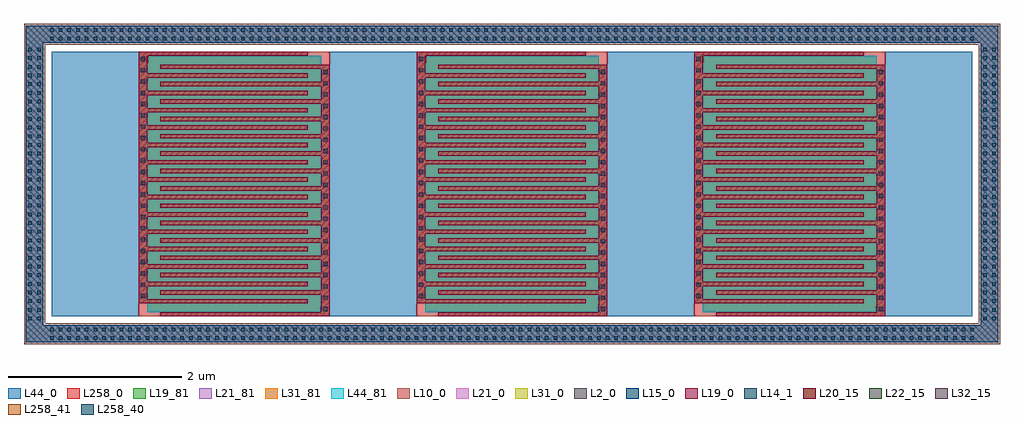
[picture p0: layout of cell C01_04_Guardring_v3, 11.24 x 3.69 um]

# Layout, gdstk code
from math import pi, radians
import gdstk
lib = gdstk.Library(unit=1e-6, precision=1e-09)
def R(c, l, rs):  # rectangles x0, y0, x1, y1
    for r in rs: c.add(gdstk.rectangle(r[:2], r[2:], *l))
def A(c, l, x, y, w, h, nx, ny, dx, dy):  # array of equal rectangles
    R(c, l, [(x+i*dx, y+j*dy, x+i*dx+w, y+j*dy+h) for i in range(nx) for j in range(ny)])
L2_0 = (2, 0)
L10_0 = (10, 0)
L14_1 = (14, 1)
L15_0 = (15, 0)
L19_0 = (19, 0)
L19_81 = (19, 81)
L20_15 = (20, 15)
L21_0 = (21, 0)
L21_81 = (21, 81)
L22_15 = (22, 15)
L31_0 = (31, 0)
L31_81 = (31, 81)
L32_15 = (32, 15)
L44_0 = (44, 0)
L44_81 = (44, 81)
L258_0 = (258, 0)
L258_40 = (258, 40)
L258_41 = (258, 41)

c01_04_guardring_v3_srf_ = lib.new_cell('C01_04_Guardring_v3:SRF_Array:SRF_HDVNCAP:SRF_FingerArray:SRF_FingerPair')
R(c01_04_guardring_v3_srf_, L19_0, [(0.1,-0.15,0.15,1.7), (0,0,0.05,1.85)])
R(c01_04_guardring_v3_srf_, L21_0, [(0.1,-0.15,0.15,1.7), (0,0,0.05,1.85)])
R(c01_04_guardring_v3_srf_, L31_0, [(0.1,-0.15,0.15,1.7), (0,0,0.05,1.85)])
R(c01_04_guardring_v3_srf_, L44_0, [(0.1,-0.15,0.15,1.7), (0,0,0.05,1.85)])

c_c01_04_guardring_v3_srf_ = lib.new_cell('C01_04_Guardring_v3:SRF_Array:SRF_HDVNCAP:SRF_FingerArray')
c_c01_04_guardring_v3_srf_.add(gdstk.Reference(c01_04_guardring_v3_srf_, (0,0)))
c_c01_04_guardring_v3_srf_.add(gdstk.Reference(c01_04_guardring_v3_srf_, (0.2,0)))
c_c01_04_guardring_v3_srf_.add(gdstk.Reference(c01_04_guardring_v3_srf_, (0.4,0)))
c_c01_04_guardring_v3_srf_.add(gdstk.Reference(c01_04_guardring_v3_srf_, (0.6,0)))
c_c01_04_guardring_v3_srf_.add(gdstk.Reference(c01_04_guardring_v3_srf_, (0.8,0)))
c_c01_04_guardring_v3_srf_.add(gdstk.Reference(c01_04_guardring_v3_srf_, (1,0)))
c_c01_04_guardring_v3_srf_.add(gdstk.Reference(c01_04_guardring_v3_srf_, (1.2,0)))
c_c01_04_guardring_v3_srf_.add(gdstk.Reference(c01_04_guardring_v3_srf_, (1.4,0)))
c_c01_04_guardring_v3_srf_.add(gdstk.Reference(c01_04_guardring_v3_srf_, (1.6,0)))
c_c01_04_guardring_v3_srf_.add(gdstk.Reference(c01_04_guardring_v3_srf_, (1.8,0)))
c_c01_04_guardring_v3_srf_.add(gdstk.Reference(c01_04_guardring_v3_srf_, (2,0)))
c_c01_04_guardring_v3_srf_.add(gdstk.Reference(c01_04_guardring_v3_srf_, (2.2,0)))
c_c01_04_guardring_v3_srf_.add(gdstk.Reference(c01_04_guardring_v3_srf_, (2.4,0)))
c_c01_04_guardring_v3_srf_.add(gdstk.Reference(c01_04_guardring_v3_srf_, (2.6,0)))

c_c01_04_guardring_v3_srf__ = lib.new_cell('C01_04_Guardring_v3:SRF_Array:SRF_HDVNCAP:SRF_Via0_PortA_Hrz:SRF_ViaM3M4')
R(c_c01_04_guardring_v3_srf__, L19_0, [(-0.032,0,2.812,0.05)])
A(c_c01_04_guardring_v3_srf__, L20_15, 0, 0, 0.05, 0.05, 22, 1, 0.13, 0)
R(c_c01_04_guardring_v3_srf__, L21_0, [(-0.032,0,2.812,0.05)])

c_c01_04_guardring_v3_srf___ = lib.new_cell('C01_04_Guardring_v3:SRF_Array:SRF_HDVNCAP:SRF_Via0_PortA_Hrz')
c_c01_04_guardring_v3_srf___.add(gdstk.Reference(c_c01_04_guardring_v3_srf__, (-1.39,-0.025)))

c_c01_04_guardring_v3_srf____ = lib.new_cell('C01_04_Guardring_v3:SRF_Array:SRF_HDVNCAP:SRF_Via1_PortA_Hrz:SRF_ViaM4M5')
R(c_c01_04_guardring_v3_srf____, L21_0, [(-0.032,0,2.812,0.05)])
A(c_c01_04_guardring_v3_srf____, L22_15, 0, 0, 0.05, 0.05, 22, 1, 0.13, 0)
R(c_c01_04_guardring_v3_srf____, L31_0, [(-0.032,0,2.812,0.05)])

c_c01_04_guardring_v3_srf_____ = lib.new_cell('C01_04_Guardring_v3:SRF_Array:SRF_HDVNCAP:SRF_Via1_PortA_Hrz')
c_c01_04_guardring_v3_srf_____.add(gdstk.Reference(c_c01_04_guardring_v3_srf____, (-1.39,-0.025)))

c_c01_04_guardring_v3_srf______ = lib.new_cell('C01_04_Guardring_v3:SRF_Array:SRF_HDVNCAP:SRF_Via2_PortA_Hrz:SRF_ViaM5M6')
R(c_c01_04_guardring_v3_srf______, L31_0, [(-0.032,0,2.812,0.05)])
A(c_c01_04_guardring_v3_srf______, L32_15, 0, 0, 0.05, 0.05, 22, 1, 0.13, 0)
R(c_c01_04_guardring_v3_srf______, L44_0, [(-0.032,0,2.812,0.05)])

c_c01_04_guardring_v3_srf_______ = lib.new_cell('C01_04_Guardring_v3:SRF_Array:SRF_HDVNCAP:SRF_Via2_PortA_Hrz')
c_c01_04_guardring_v3_srf_______.add(gdstk.Reference(c_c01_04_guardring_v3_srf______, (-1.39,-0.025)))

c_c01_04_guardring_v3_srf________ = lib.new_cell('C01_04_Guardring_v3:SRF_Array:SRF_HDVNCAP:SRF_Via0_PortB_Hrz:SRF_ViaM3M4')
R(c_c01_04_guardring_v3_srf________, L19_0, [(-0.032,0,2.812,0.05)])
A(c_c01_04_guardring_v3_srf________, L20_15, 0, 0, 0.05, 0.05, 22, 1, 0.13, 0)
R(c_c01_04_guardring_v3_srf________, L21_0, [(-0.032,0,2.812,0.05)])

c_c01_04_guardring_v3_srf_________ = lib.new_cell('C01_04_Guardring_v3:SRF_Array:SRF_HDVNCAP:SRF_Via0_PortB_Hrz')
c_c01_04_guardring_v3_srf_________.add(gdstk.Reference(c_c01_04_guardring_v3_srf________, (-1.39,-0.025)))

c_c01_04_guardring_v3_srf__________ = lib.new_cell('C01_04_Guardring_v3:SRF_Array:SRF_HDVNCAP:SRF_Via1_PortB_Hrz:SRF_ViaM4M5')
R(c_c01_04_guardring_v3_srf__________, L21_0, [(-0.032,0,2.812,0.05)])
A(c_c01_04_guardring_v3_srf__________, L22_15, 0, 0, 0.05, 0.05, 22, 1, 0.13, 0)
R(c_c01_04_guardring_v3_srf__________, L31_0, [(-0.032,0,2.812,0.05)])

c_c01_04_guardring_v3_srf___________ = lib.new_cell('C01_04_Guardring_v3:SRF_Array:SRF_HDVNCAP:SRF_Via1_PortB_Hrz')
c_c01_04_guardring_v3_srf___________.add(gdstk.Reference(c_c01_04_guardring_v3_srf__________, (-1.39,-0.025)))

c_c01_04_guardring_v3_srf____________ = lib.new_cell('C01_04_Guardring_v3:SRF_Array:SRF_HDVNCAP:SRF_Via2_PortB_Hrz:SRF_ViaM5M6')
R(c_c01_04_guardring_v3_srf____________, L31_0, [(-0.032,0,2.812,0.05)])
A(c_c01_04_guardring_v3_srf____________, L32_15, 0, 0, 0.05, 0.05, 22, 1, 0.13, 0)
R(c_c01_04_guardring_v3_srf____________, L44_0, [(-0.032,0,2.812,0.05)])

c_c01_04_guardring_v3_srf_____________ = lib.new_cell('C01_04_Guardring_v3:SRF_Array:SRF_HDVNCAP:SRF_Via2_PortB_Hrz')
c_c01_04_guardring_v3_srf_____________.add(gdstk.Reference(c_c01_04_guardring_v3_srf____________, (-1.39,-0.025)))

c_c01_04_guardring_v3_srf______________ = lib.new_cell('C01_04_Guardring_v3:SRF_Array:SRF_HDVNCAP')
R(c_c01_04_guardring_v3_srf______________, L19_0, [(-0.15,-0.25,2.75,-0.15), (-0.15,-0.25,-0.1,1.7), (2.85,0,2.9,1.95), (0,1.85,2.9,1.95)])
R(c_c01_04_guardring_v3_srf______________, L19_81, [(-0.1,-0.15,2.85,1.85)])
R(c_c01_04_guardring_v3_srf______________, L21_0, [(-0.15,-0.25,2.75,-0.15), (-0.15,-0.25,-0.1,1.7), (2.85,0,2.9,1.95), (0,1.85,2.9,1.95)])
R(c_c01_04_guardring_v3_srf______________, L21_81, [(-0.1,-0.15,2.85,1.85)])
R(c_c01_04_guardring_v3_srf______________, L31_0, [(-0.15,-0.25,2.75,-0.15), (-0.15,-0.25,-0.1,1.7), (2.85,0,2.9,1.95), (0,1.85,2.9,1.95)])
R(c_c01_04_guardring_v3_srf______________, L31_81, [(-0.1,-0.15,2.85,1.85)])
R(c_c01_04_guardring_v3_srf______________, L44_0, [(-0.15,-0.25,2.75,-0.15), (-0.15,-0.25,-0.1,1.7), (2.85,0,2.9,1.95), (0,1.85,2.9,1.95)])
R(c_c01_04_guardring_v3_srf______________, L44_81, [(-0.1,-0.15,2.85,1.85)])
R(c_c01_04_guardring_v3_srf______________, L258_0, [(-0.15,-0.25,2.9,1.95)])
A(c_c01_04_guardring_v3_srf______________, L258_40, -0.09, -0.15, 0.01, 0.01, 3, 1, 0.02, 0)
A(c_c01_04_guardring_v3_srf______________, L258_41, 2.77, 1.84, 0.01, 0.01, 4, 1, 0.02, 0)
c_c01_04_guardring_v3_srf______________.add(gdstk.Reference(c_c01_04_guardring_v3_srf_, (0,0)))
c_c01_04_guardring_v3_srf______________.add(gdstk.Reference(c_c01_04_guardring_v3_srf___, (1.45,1.9)))
c_c01_04_guardring_v3_srf______________.add(gdstk.Reference(c_c01_04_guardring_v3_srf_____, (1.45,1.9)))
c_c01_04_guardring_v3_srf______________.add(gdstk.Reference(c_c01_04_guardring_v3_srf_______, (1.45,1.9)))
c_c01_04_guardring_v3_srf______________.add(gdstk.Reference(c_c01_04_guardring_v3_srf_________, (1.3,-0.2)))
c_c01_04_guardring_v3_srf______________.add(gdstk.Reference(c_c01_04_guardring_v3_srf___________, (1.3,-0.2)))
c_c01_04_guardring_v3_srf______________.add(gdstk.Reference(c_c01_04_guardring_v3_srf_____________, (1.3,-0.2)))

c_c01_04_guardring_v3_srf_______________ = lib.new_cell('C01_04_Guardring_v3:SRF_Array')
A(c_c01_04_guardring_v3_srf_______________, L44_0, 0, 0, 1, 3.05, 4, 1, 3.2, 0)
c_c01_04_guardring_v3_srf_______________.add(gdstk.Reference(c_c01_04_guardring_v3_srf______________, (2.95,0.15), rotation=pi/2))
c_c01_04_guardring_v3_srf_______________.add(gdstk.Reference(c_c01_04_guardring_v3_srf______________, (6.15,0.15), rotation=pi/2))
c_c01_04_guardring_v3_srf_______________.add(gdstk.Reference(c_c01_04_guardring_v3_srf______________, (9.35,0.15), rotation=pi/2))

c01_04_guardring_v3__pbo = lib.new_cell('C01_04_Guardring_v3:_Pbodyring:SRF_PbodyTop:SRF_PbodyContactPhyLen')
R(c01_04_guardring_v3__pbo, L2_0, [(-0.08,-0.13,10.72,0.07)])
R(c01_04_guardring_v3__pbo, L10_0, [(-0.101,-0.151,10.741,0.091)])
A(c01_04_guardring_v3__pbo, L14_1, 0, -0.1, 0.04, 0.04, 107, 2, 0.1, 0.1)
R(c01_04_guardring_v3__pbo, L15_0, [(-0.08,-0.13,10.72,0.07)])

c_c01_04_guardring_v3__pbo = lib.new_cell('C01_04_Guardring_v3:_Pbodyring:SRF_PbodyTop')
c_c01_04_guardring_v3__pbo.add(gdstk.Reference(c01_04_guardring_v3__pbo, (0,0)))

c_c01_04_guardring_v3__pbo_ = lib.new_cell('C01_04_Guardring_v3:_Pbodyring:SRF_PbodyBottom:SRF_PbodyContactPhyLen')
R(c_c01_04_guardring_v3__pbo_, L2_0, [(-0.08,-0.13,10.72,0.07)])
R(c_c01_04_guardring_v3__pbo_, L10_0, [(-0.101,-0.151,10.741,0.091)])
A(c_c01_04_guardring_v3__pbo_, L14_1, 0, -0.1, 0.04, 0.04, 107, 2, 0.1, 0.1)
R(c_c01_04_guardring_v3__pbo_, L15_0, [(-0.08,-0.13,10.72,0.07)])

c_c01_04_guardring_v3__pbo__ = lib.new_cell('C01_04_Guardring_v3:_Pbodyring:SRF_PbodyBottom')
c_c01_04_guardring_v3__pbo__.add(gdstk.Reference(c_c01_04_guardring_v3__pbo_, (0,0)))

c_c01_04_guardring_v3__pbo___ = lib.new_cell('C01_04_Guardring_v3:_Pbodyring:SRF_PbodyLeft:SRF_PbodyContactPhyLen')
R(c_c01_04_guardring_v3__pbo___, L2_0, [(-0.03,-3.155,0.17,0.095)])
R(c_c01_04_guardring_v3__pbo___, L10_0, [(-0.051,-3.176,0.191,0.116)])
A(c_c01_04_guardring_v3__pbo___, L14_1, 0, -3.1, 0.04, 0.04, 1, 32, 0, 0.1)
A(c_c01_04_guardring_v3__pbo___, L14_1, 0.1, -3.1, 0.04, 0.04, 1, 32, 0, 0.1)
R(c_c01_04_guardring_v3__pbo___, L15_0, [(-0.03,-3.155,0.17,0.095)])

c_c01_04_guardring_v3__pbo____ = lib.new_cell('C01_04_Guardring_v3:_Pbodyring:SRF_PbodyLeft')
c_c01_04_guardring_v3__pbo____.add(gdstk.Reference(c_c01_04_guardring_v3__pbo___, (0,0)))

c_c01_04_guardring_v3__pbo_____ = lib.new_cell('C01_04_Guardring_v3:_Pbodyring:SRF_PbodyRight:SRF_PbodyContactPhyLen')
R(c_c01_04_guardring_v3__pbo_____, L2_0, [(-0.03,-3.155,0.17,0.095)])
R(c_c01_04_guardring_v3__pbo_____, L10_0, [(-0.051,-3.176,0.191,0.116)])
A(c_c01_04_guardring_v3__pbo_____, L14_1, 0, -3.1, 0.04, 0.04, 1, 32, 0, 0.1)
A(c_c01_04_guardring_v3__pbo_____, L14_1, 0.1, -3.1, 0.04, 0.04, 1, 32, 0, 0.1)
R(c_c01_04_guardring_v3__pbo_____, L15_0, [(-0.03,-3.155,0.17,0.095)])

c_c01_04_guardring_v3__pbo______ = lib.new_cell('C01_04_Guardring_v3:_Pbodyring:SRF_PbodyRight')
c_c01_04_guardring_v3__pbo______.add(gdstk.Reference(c_c01_04_guardring_v3__pbo_____, (0,0)))

c_c01_04_guardring_v3__pbo_______ = lib.new_cell('C01_04_Guardring_v3:_Pbodyring')
R(c_c01_04_guardring_v3__pbo_______, L2_0, [(-0.28,-3.58,10.92,-3.38), (-0.28,-3.58,-0.08,0.07), (10.72,-3.58,10.92,0.07), (-0.28,-0.13,10.92,0.07)])
R(c_c01_04_guardring_v3__pbo_______, L10_0, [(-0.301,-3.601,10.941,-3.359), (-0.301,-3.601,-0.059,0.091), (10.699,-3.601,10.941,0.091), (-0.301,-0.151,10.941,0.091)])
R(c_c01_04_guardring_v3__pbo_______, L15_0, [(-0.28,-3.58,10.92,-3.38), (-0.28,-3.58,-0.08,0.07), (10.72,-3.58,10.92,0.07), (-0.28,-0.13,10.92,0.07)])
c_c01_04_guardring_v3__pbo_______.add(gdstk.Reference(c_c01_04_guardring_v3__pbo, (0,0)))
c_c01_04_guardring_v3__pbo_______.add(gdstk.Reference(c_c01_04_guardring_v3__pbo__, (0,-3.45)))
c_c01_04_guardring_v3__pbo_______.add(gdstk.Reference(c_c01_04_guardring_v3__pbo____, (-0.25,-0.225)))
c_c01_04_guardring_v3__pbo_______.add(gdstk.Reference(c_c01_04_guardring_v3__pbo______, (10.75,-0.225)))

c01_04_guardring_v3 = lib.new_cell('C01_04_Guardring_v3')
c01_04_guardring_v3.add(gdstk.Reference(c_c01_04_guardring_v3_srf_______________, (0,0)))
c01_04_guardring_v3.add(gdstk.Reference(c_c01_04_guardring_v3__pbo_______, (-0.02,3.28)))

lib.write_gds('C01_04_Guardring_v3.gds')
